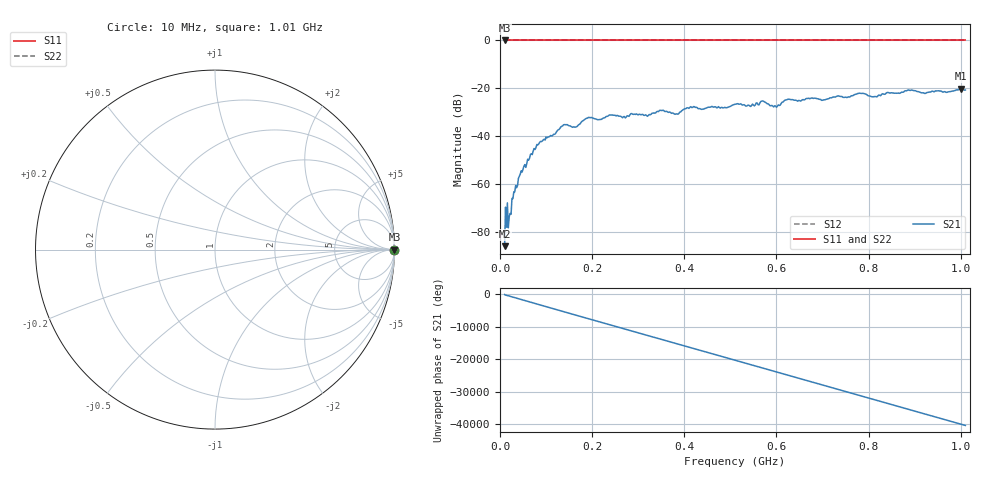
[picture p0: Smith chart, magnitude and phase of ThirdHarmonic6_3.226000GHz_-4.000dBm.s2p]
! 8/17/2025 9:51:42 AM
! C:\ANRITSUVNA\TEMP\TEMP.S2P
! CHANNEL.1
! TR.MEASUREMENT
! RAW.DATA
! RF.CORRECTION.OFF
! AVERAGING.OFF
! IF.BANDWIDTH: 5KHZ
! SWEEPTYPE:  FREQ.SWEEP(Linear)
! Reference Plane Port Info
! PORT:  PORT1  PORT2
! DISTANCE:  0  m  0  m
! TIME:  0  s  0  s
! PHASE.OFFSET:  0  deg.  0  deg.
! LOSS:  0  dB  0  dB
! REF.LOSS:  0  dB  0  dB
! REF.FREQ:  0  Hz  0  Hz
! Power Info
! POWER:  -20  dBm  -20  dBm
! EFF.POWER:  -20  dBm  -20  dBm
! SOURCE.ATTEN:  0  dB  0  dB
! TEST.ATTEN:  0  dB  0  dB
# GHZ S RI R 50.0
! FREQ.GHZ  S11RE  S11IM  S21RE  S21IM  S12RE  S12IM  S22RE  S22IM
!; PortSelection: Port_12
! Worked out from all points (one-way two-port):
!   501 points, 10 MHz to 1.01 GHz, reference 50 ohm
!   highest |S21| = -20.07 dB at 1 GHz (marker M1); lowest = -85.8 dB at 10 MHz (marker M2)
!   lowest |S11| = 0.0 dB at 10 MHz (marker M3)
!   |S11| at or under -10 dB: nowhere
!   |S22| runs from 0.0 to 0.0 dB; largest |S21 - S12| = 1.1
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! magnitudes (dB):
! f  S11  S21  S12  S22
! 10 MHz  0.0  -85.8  0.0  0.0
! 12 MHz  0.0  -69.5  0.0  0.0
! 22 MHz  0.0  -72.1  0.0  0.0
! 30 MHz  0.0  -63.1  0.0  0.0
! 44 MHz  0.0  -55.7  0.0  0.0
! 78 MHz  0.0  -44.7  0.0  0.0
! 136 MHz  0.0  -35.6  0.0  0.0
! 162 MHz  0.0  -36.2  0.0  0.0
! 178 MHz  0.0  -33.7  0.0  0.0
! 194 MHz  0.0  -32.1  0.0  0.0
! 318 MHz  0.0  -31.3  0.0  0.0
! 344 MHz  0.0  -29.7  0.0  0.0
! 384 MHz  0.0  -30.6  0.0  0.0
! 416 MHz  0.0  -28.0  0.0  0.0
! 510 MHz  0.0  -26.6  0.0  0.0
! 570 MHz  0.0  -25.2  0.0  0.0
! 598 MHz  0.0  -27.4  0.0  0.0
! 622 MHz  0.0  -24.8  0.0  0.0
! 678 MHz  0.0  -24.0  0.0  0.0
! 844 MHz  0.0  -21.8  0.0  0.0
! 1 GHz  0.0  -20.1  0.0  0.0
! 1.01 GHz  0.0  -20.7  0.0  0.0
